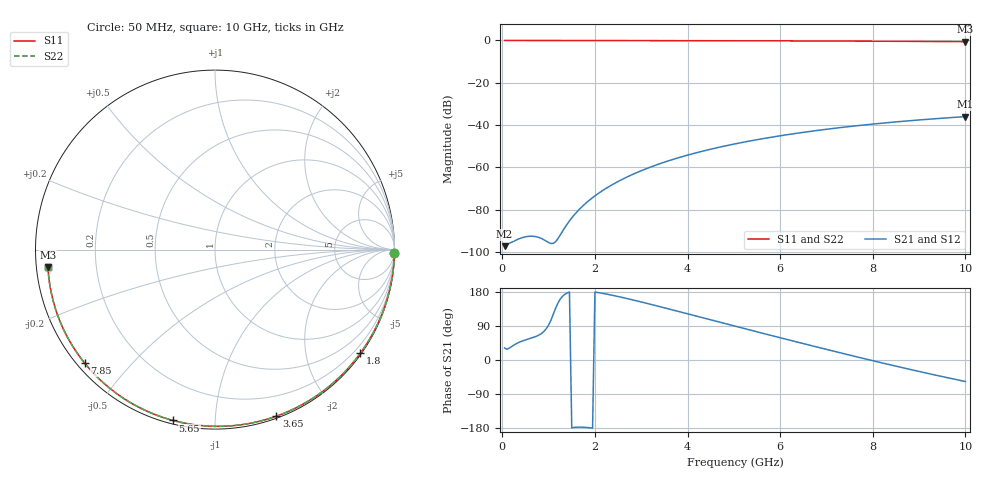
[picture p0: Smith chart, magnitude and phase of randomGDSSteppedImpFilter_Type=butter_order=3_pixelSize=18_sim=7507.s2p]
! freq	dB(S11)	phase(S11)	dB(S12)	phase(S12)
!  dB(S21)	phase(S21)	dB(S22)	phase(S22)
!S-par simulation data
#  GHz  S  DB  R 50
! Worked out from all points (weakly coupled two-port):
!   200 points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, 50 MHz to 10 GHz, reference 50 ohm
!   highest |S21| = -36.03 dB at 10 GHz (marker M1); lowest = -97.3 dB at 50 MHz (marker M2)
!   lowest |S11| = -0.6 dB at 10 GHz (marker M3), VSWR 30.12, Z = 1.66 - j2.64 ohm
!   |S11| at or under -10 dB: nowhere
!   |S22| runs from -0.6 to 0.0 dB; largest |S21 - S12| = 0
!   S11 on the Smith chart (normalised r, x): 50 MHz: open; 1.8 GHz: 0.03, -3.13; 3.65 GHz: 0.02, -1.43; 5.65 GHz: 0.02, -0.78; 7.85 GHz: 0.02, -0.37; 10 GHz: 0.03, -0.05
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0.05  -0.00 -1.0  -97.34 31.8  -97.34 31.8  -0.00 -1.0
0.4  -0.01 -8.0  -93.54 48.6  -93.54 48.6  -0.01 -8.0
0.8  -0.02 -16.0  -93.29 66.4  -93.29 66.4  -0.02 -16.0
1.2  -0.03 -23.8  -93.86 150.0  -93.86 150.0  -0.03 -23.9
1.65  -0.04 -32.6  -80.21 -177.1  -80.21 -177.1  -0.04 -32.6
1.75  -0.04 -34.5  -78.07 -177.3  -78.07 -177.3  -0.04 -34.5
1.8  -0.05 -35.5  -77.08 -177.8  -77.08 -177.8  -0.05 -35.5
2.1  -0.05 -41.2  -71.99 177.3  -71.99 177.3  -0.05 -41.2
2.5  -0.06 -48.8  -66.74 167.5  -66.74 167.5  -0.06 -48.8
2.9  -0.07 -56.2  -62.56 156.1  -62.56 156.1  -0.07 -56.2
3.4  -0.09 -65.3  -58.33 140.9  -58.33 140.9  -0.09 -65.3
3.65  -0.09 -69.8  -56.52 133.0  -56.52 133.0  -0.09 -69.8
4.35  -0.12 -82.0  -52.24 110.8  -52.24 110.8  -0.12 -82.1
5.05  -0.14 -93.9  -48.82 88.5  -48.82 88.5  -0.14 -94.0
5.65  -0.17 -103.8  -46.38 69.6  -46.38 69.6  -0.17 -103.9
6.15  -0.20 -111.9  -44.60 54.1  -44.60 54.1  -0.20 -112.0
6.7  -0.24 -120.7  -42.87 37.1  -42.87 37.1  -0.24 -120.8
7.25  -0.28 -129.4  -41.35 20.4  -41.35 20.4  -0.28 -129.5
7.85  -0.33 -138.9  -39.90 2.5  -39.90 2.5  -0.33 -139.0
8.35  -0.37 -146.8  -38.84 -12.0  -38.84 -12.0  -0.38 -146.9
9.2  -0.47 -160.5  -37.28 -35.7  -37.28 -35.7  -0.47 -160.7
10  -0.58 -173.9  -36.03 -56.8  -36.03 -56.8  -0.58 -174.1
